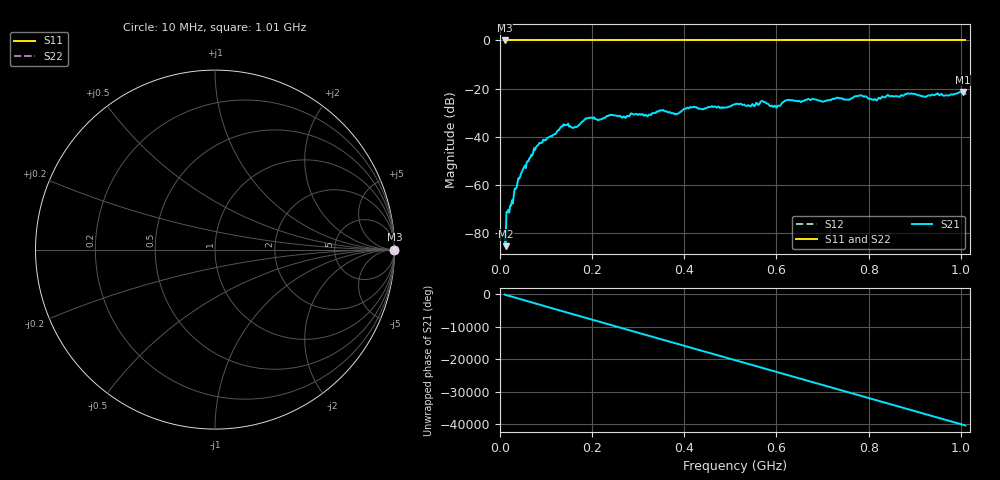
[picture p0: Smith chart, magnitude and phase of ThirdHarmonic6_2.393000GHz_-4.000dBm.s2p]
! 8/17/2025 3:53:33 AM
! C:\ANRITSUVNA\TEMP\TEMP.S2P
! CHANNEL.1
! TR.MEASUREMENT
! RAW.DATA
! RF.CORRECTION.OFF
! AVERAGING.OFF
! IF.BANDWIDTH: 5KHZ
! SWEEPTYPE:  FREQ.SWEEP(Linear)
! Reference Plane Port Info
! PORT:  PORT1  PORT2
! DISTANCE:  0  m  0  m
! TIME:  0  s  0  s
! PHASE.OFFSET:  0  deg.  0  deg.
! LOSS:  0  dB  0  dB
! REF.LOSS:  0  dB  0  dB
! REF.FREQ:  0  Hz  0  Hz
! Power Info
! POWER:  -20  dBm  -20  dBm
! EFF.POWER:  -20  dBm  -20  dBm
! SOURCE.ATTEN:  0  dB  0  dB
! TEST.ATTEN:  0  dB  0  dB
# GHZ S RI R 50.0
! FREQ.GHZ  S11RE  S11IM  S21RE  S21IM  S12RE  S12IM  S22RE  S22IM
!; PortSelection: Port_12
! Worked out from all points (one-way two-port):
!   501 points, 10 MHz to 1.01 GHz, reference 50 ohm
!   highest |S21| = -21.39 dB at 1.004 GHz (marker M1); lowest = -85.3 dB at 12 MHz (marker M2)
!   lowest |S11| = 0.0 dB at 10 MHz (marker M3)
!   |S11| at or under -10 dB: nowhere
!   |S22| runs from 0.0 to 0.0 dB; largest |S21 - S12| = 1.1
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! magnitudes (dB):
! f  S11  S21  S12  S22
! 10 MHz  0.0  -79.1  0.0  0.0
! 12 MHz  0.0  -85.3  0.0  0.0
! 18 MHz  0.0  -70.2  0.0  0.0
! 24 MHz  0.0  -68.5  0.0  0.0
! 42 MHz  0.0  -57.4  0.0  0.0
! 78 MHz  0.0  -44.3  0.0  0.0
! 136 MHz  0.0  -35.6  0.0  0.0
! 162 MHz  0.0  -35.9  0.0  0.0
! 178 MHz  0.0  -33.7  0.0  0.0
! 344 MHz  0.0  -29.5  0.0  0.0
! 382 MHz  0.0  -30.5  0.0  0.0
! 416 MHz  0.0  -27.8  0.0  0.0
! 510 MHz  0.0  -26.5  0.0  0.0
! 570 MHz  0.0  -25.2  0.0  0.0
! 596 MHz  0.0  -27.1  0.0  0.0
! 622 MHz  0.0  -24.8  0.0  0.0
! 678 MHz  0.0  -24.3  0.0  0.0
! 782 MHz  0.0  -22.8  0.0  0.0
! 814 MHz  0.0  -24.3  0.0  0.0
! 844 MHz  0.0  -22.9  0.0  0.0
! 1.004 GHz  0.0  -21.4  0.0  0.0
! 1.01 GHz  0.0  -22.1  0.0  0.0
